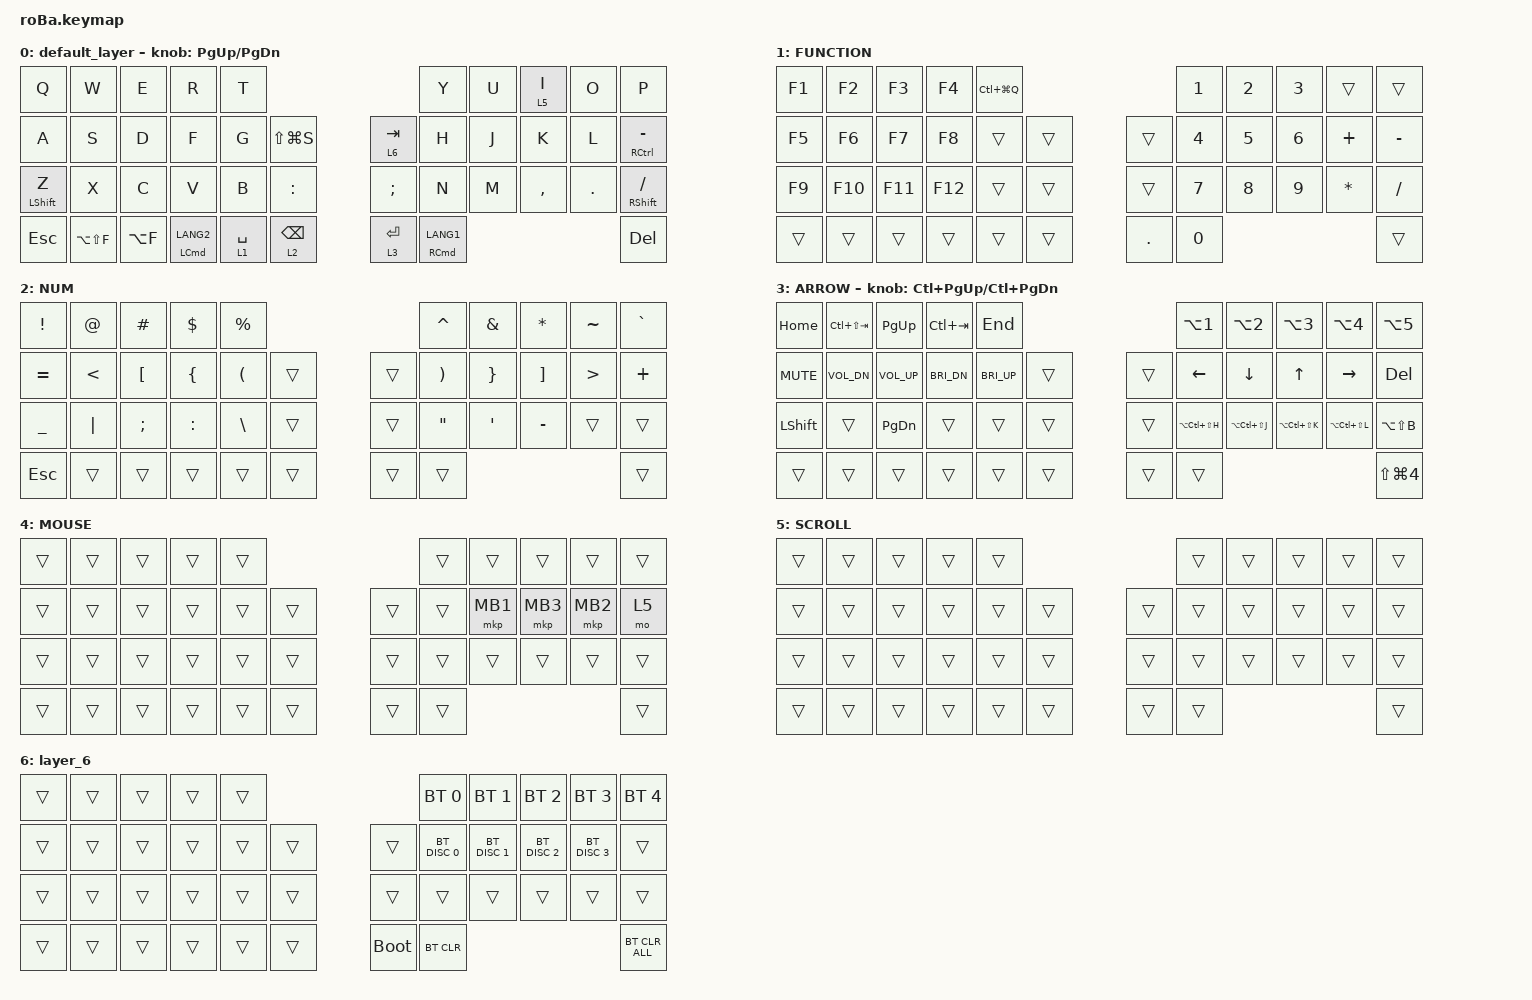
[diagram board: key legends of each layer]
#include <behaviors.dtsi>
#include <dt-bindings/zmk/bt.h>
#include <dt-bindings/zmk/keys.h>
#include <dt-bindings/zmk/pointing.h>

&mt {
    flavor = "balanced";
    quick-tap-ms = <300>;
};

&lt {
    quick-tap-ms = <300>;
};

&trackball {
    automouse-layer = <4>;
    scroll-layers = <5>;

    // arrows {
    //     layers = <3>;
    //     bindings =
    //         <&kp RIGHT_ARROW>,
    //         <&kp LEFT_ARROW>,
    //         <&kp UP_ARROW>,
    //         <&kp DOWN_ARROW>;

    //     tick = <10>;
    //     wait-ms = <5>;
    //     tap-ms = <5>;
    // };
};

/ {
    combos {
        compatible = "zmk,combos";

        ctrl {
            bindings = <&kp LCTRL>;
            key-positions = <11 12>;
        };

        alt {
            bindings = <&kp LALT>;
            key-positions = <12 13>;
        };

        space {
            bindings = <&kp SPACE>;
            key-positions = <19 20>;
        };

        mb3 {
            bindings = <&mkp MB3>;
            key-positions = <20 21>;
        };

        combo_tab {
            bindings = <&kp TAB>;
            key-positions = <1 2>; // W+E
            timeout-ms = <50>;
        };
    };

    macros {
        to_layer_0: to_layer_0 {
            compatible = "zmk,behavior-macro-one-param";
            #binding-cells = <1>;
            bindings = <&to 0 &macro_param_1to1 &kp MACRO_PLACEHOLDER>;
            label = "TO_LAYER_0";
        };
    };

    behaviors {
        lt_to_layer_0: lt_to_layer_0 {
            compatible = "zmk,behavior-hold-tap";
            label = "LAYER_TAP_TO_0";
            bindings = <&mo>, <&to_layer_0>;

            #binding-cells = <2>;
            tapping-term-ms = <200>;
            quick-tap-ms = <300>;
        };
    };

    keymap {
        compatible = "zmk,keymap";

        default_layer {
            bindings = <
&kp Q             &kp W         &kp E         &kp R                        &kp T                                                          &kp Y        &kp U  &lt 5 I    &kp O    &kp P
&kp A             &kp S         &kp D         &kp F                        &kp G        &kp LS(LG(S))                      &lt 6 TAB      &kp H        &kp J  &kp K      &kp L    &mt RCTRL MINUS
&mt LEFT_SHIFT Z  &kp X         &kp C         &kp V                        &kp B        &kp COLON                          &kp SEMICOLON  &kp N        &kp M  &kp COMMA  &kp DOT  &mt RSHIFT SLASH
&kp ESC           &kp LA(LS(F)) &kp LA(F)     &mt LCMD LANG2               &lt 1 SPACE  &lt 2 BACKSPACE                     &lt 3 ENTER    &mt RCMD LANG1                          &kp DEL
            >;

            sensor-bindings = <&inc_dec_kp PG_UP PAGE_DOWN>;
        };

        FUNCTION {
            bindings = <
&kp F1  &kp F2   &kp F3   &kp F4   &kp LC(LG(Q))                         &kp NUMBER_1  &kp NUMBER_2  &kp NUMBER_3  &trans        &trans
&kp F5  &kp F6   &kp F7   &kp F8   &trans  &trans      &trans            &kp NUMBER_4  &kp NUMBER_5  &kp NUMBER_6  &kp PLUS      &kp MINUS
&kp F9  &kp F10  &kp F11  &kp F12  &trans  &trans      &trans            &kp NUMBER_7  &kp NUMBER_8  &kp NUMBER_9  &kp ASTERISK  &kp SLASH
&trans  &trans   &trans   &trans   &trans  &trans      &kp PERIOD        &kp NUMBER_0                                             &trans
            >;
        };

        NUM {
            bindings = <
&kp EXCLAMATION  &kp AT_SIGN    &kp HASH          &kp DOLLAR      &kp PERCENT                                                                      &kp CARET              &kp AMPERSAND      &kp ASTERISK       &kp TILDE        &kp GRAVE
&kp EQUAL        &kp LESS_THAN  &kp LEFT_BRACKET  &kp LEFT_BRACE  &kp LEFT_PARENTHESIS  &trans      &trans  &kp RIGHT_PARENTHESIS  &kp RIGHT_BRACE    &kp RIGHT_BRACKET  &kp GREATER_THAN &kp PLUS
&kp UNDERSCORE   &kp PIPE       &kp SEMICOLON     &kp COLON       &kp BACKSLASH         &trans      &trans  &kp DOUBLE_QUOTES      &kp SINGLE_QUOTE   &kp MINUS          &trans           &trans
&kp ESC          &trans         &trans            &trans          &trans                &trans      &trans  &trans                                                                          &trans
            >;
        };

        ARROW {
            bindings = <
&kp HOME        &kp LC(LS(TAB))  &kp PG_UP       &kp LC(TAB)      &kp END                                                 &kp LA(NUMBER_1)  &kp LA(NUMBER_2)  &kp LA(NUMBER_3)  &kp LA(NUMBER_4)  &kp LA(NUMBER_5)
&kp C_MUTE      &kp C_VOL_DN     &kp C_VOL_UP    &kp C_BRI_DN     &kp C_BRI_UP   &trans      &trans                            &kp LEFT_ARROW    &kp DOWN_ARROW    &kp UP_ARROW      &kp RIGHT_ARROW   &kp DELETE
&kp LEFT_SHIFT  &trans           &kp PG_DN       &trans           &trans     &trans      &trans                            &kp LA(LC(LS(H)))  &kp LA(LC(LS(J)))  &kp LA(LC(LS(K)))  &kp LA(LC(LS(L)))  &kp LA(LS(B))
&trans          &trans           &trans          &trans           &trans     &trans      &trans                            &trans                                                                   &kp LS(LG(NUMBER_4))
            >;

            sensor-bindings = <&inc_dec_kp LC(PAGE_UP) LC(PAGE_DOWN)>;
        };

        MOUSE {
            bindings = <
&trans  &trans  &trans  &trans  &trans                      &trans  &trans    &trans    &trans    &trans
&trans  &trans  &trans  &trans  &trans  &trans      &trans  &trans  &mkp MB1  &mkp MB3  &mkp MB2  &mo 5
&trans  &trans  &trans  &trans  &trans  &trans      &trans  &trans  &trans    &trans    &trans    &trans
&trans  &trans  &trans  &trans  &trans  &trans      &trans  &trans                                &trans
            >;
        };

        SCROLL {
            bindings = <
&trans  &trans  &trans  &trans  &trans                      &trans  &trans  &trans  &trans  &trans
&trans  &trans  &trans  &trans  &trans  &trans      &trans  &trans  &trans  &trans  &trans  &trans
&trans  &trans  &trans  &trans  &trans  &trans      &trans  &trans  &trans  &trans  &trans  &trans
&trans  &trans  &trans  &trans  &trans  &trans      &trans  &trans                          &trans
            >;
        };

        layer_6 {
            bindings = <
&trans  &trans  &trans  &trans  &trans                           &bt BT_SEL 0   &bt BT_SEL 1   &bt BT_SEL 2   &bt BT_SEL 3   &bt BT_SEL 4
&trans  &trans  &trans  &trans  &trans  &trans      &trans       &bt BT_DISC 0  &bt BT_DISC 1  &bt BT_DISC 2  &bt BT_DISC 3  &trans
&trans  &trans  &trans  &trans  &trans  &trans      &trans       &trans         &trans         &trans         &trans         &trans
&trans  &trans  &trans  &trans  &trans  &trans      &bootloader  &bt BT_CLR                                                  &bt BT_CLR_ALL
            >;
        };
    };
};
